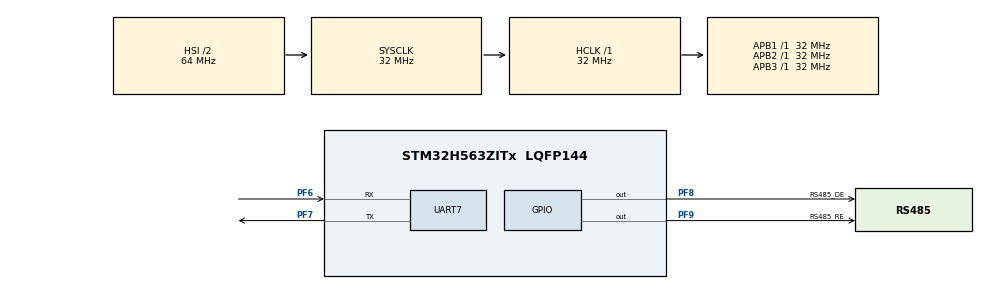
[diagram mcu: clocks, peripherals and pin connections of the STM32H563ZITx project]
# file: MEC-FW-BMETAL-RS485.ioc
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BOOTPATH.BootPathName=LEGACY
BOOTPATH.UserSelectedBootPath=LEGACY
CORTEX_M33_NS.userName=CORTEX_M33
Mcu.Family=STM32H5
Mcu.Name=STM32H563ZITx
Mcu.Package=LQFP144
NVIC.PriorityGroup=NVIC_PRIORITYGROUP_4
NVIC.UART7_IRQn=true\:0\:0\:false\:false\:true\:true\:true\:true
PA13(JTMS/SWDIO).Mode=Trace_Asynchronous_SW
PA13(JTMS/SWDIO).Signal=DEBUG_JTMS-SWDIO
PA14(JTCK/SWCLK).Mode=Trace_Asynchronous_SW
PA14(JTCK/SWCLK).Signal=DEBUG_JTCK-SWCLK
PB3(JTDO/TRACESWO).Mode=Trace_Asynchronous_SW
PB3(JTDO/TRACESWO).Signal=DEBUG_JTDO-SWO
PF6.Mode=Asynchronous
PF6.Signal=UART7_RX
PF7.Mode=Asynchronous
PF7.Signal=UART7_TX
PF8.GPIO_Label=RS485_DE
PF8.Signal=GPIO_Output
PF9.GPIO_Label=RS485_RE
PF9.Signal=GPIO_Output
ProjectManager.HeapSize=0x200
ProjectManager.StackSize=0x400
ProjectManager.TargetToolchain=STM32CubeIDE
RCC.ADCFreq_Value=32000000
RCC.AHBFreq_Value=32000000
RCC.APB1Freq_Value=32000000
RCC.APB1TimFreq_Value=32000000
RCC.APB2Freq_Value=32000000
RCC.APB2TimFreq_Value=32000000
RCC.APB3Freq_Value=32000000
RCC.CSI_VALUE=4000000
RCC.CortexFreq_Value=32000000
RCC.EPOD_VALUE=4000000
RCC.HCLKFreq_Value=32000000
RCC.HSE_VALUE=25000000
RCC.HSI48_VALUE=48000000
RCC.HSI_VALUE=64000000
RCC.LSE_VALUE=32768
RCC.LSIRC_VALUE=32000
RCC.SYSCLKFreq_VALUE=32000000
RCC.USBFreq_Value=48000000
RCC.VCOOutputFreq_Value=516000000
VP_BOOTPATH_VS_BOOTPATH.Mode=BP_Activate
VP_CORTEX_M33_NS_VS_Hclk.Mode=Hclk_Mode
VP_MEMORYMAP_VS_MEMORYMAP.Mode=CurAppReg
VP_PWR_VS_LPOM.Mode=PowerOptimisation
VP_PWR_VS_SECSignals.Mode=Security/Privilege
board=custom

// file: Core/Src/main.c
/* USER CODE BEGIN Header */
/**
  ******************************************************************************
  * @file           : main.c
  * @brief          : Main program body
  ******************************************************************************
  * @attention
  *
  * Copyright (c) 2026 STMicroelectronics.
  * All rights reserved.
  *
  * This software is licensed under terms that can be found in the LICENSE file
  * in the root directory of this software component.
  * If no LICENSE file comes with this software, it is provided AS-IS.
  *
  ******************************************************************************
  */
/* USER CODE END Header */
#include "main.h"

/* USER CODE BEGIN Includes */
#include "swo.h"
#include <stdbool.h>
/* USER CODE END Includes */

UART_HandleTypeDef huart7;

/* USER CODE BEGIN PV */
#define RS485_FRAME_SIZE    8u

static uint8_t rs485_rx_buffer[RS485_FRAME_SIZE];

static const uint8_t rs485_expected_frame[RS485_FRAME_SIZE] =
{
    0xAA, 0x55, 0x01, 0x02, 0x03, 0x04, 0x12, 0x34
};
/* USER CODE END PV */

void SystemClock_Config(void);
static void MX_GPIO_Init(void);
static void MX_UART7_Init(void);

int main(void)
{

  /* MCU Configuration--------------------------------------------------------*/

  /* Reset of all peripherals, Initializes the Flash interface and the Systick. */
  HAL_Init();

  /* Configure the system clock */
  SystemClock_Config();

  /* Initialize all configured peripherals */
  MX_GPIO_Init();
  MX_UART7_Init();
  /* USER CODE BEGIN 2 */

  /* Init main*/
  printf("Init main \r\n");

  /* RS485 receive mode: DE = 0, /RE = 0 */
  HAL_GPIO_WritePin(RS485_DE_GPIO_Port, RS485_DE_Pin, GPIO_PIN_RESET);
  HAL_GPIO_WritePin(RS485_RE_GPIO_Port, RS485_RE_Pin, GPIO_PIN_RESET);

  /* Start interrupt-driven reception of one complete frame */
  if (HAL_UART_Receive_IT(&huart7,
                          rs485_rx_buffer,
                          RS485_FRAME_SIZE) != HAL_OK)
  {
      Error_Handler();
  }

  /* USER CODE END 2 */

  /* Infinite loop */
  while (1)
  {

  }
}

void SystemClock_Config(void)
{
  RCC_OscInitTypeDef RCC_OscInitStruct = {0};
  RCC_ClkInitTypeDef RCC_ClkInitStruct = {0};

  /** Configure the main internal regulator output voltage
  */
  __HAL_PWR_VOLTAGESCALING_CONFIG(PWR_REGULATOR_VOLTAGE_SCALE3);

  while(!__HAL_PWR_GET_FLAG(PWR_FLAG_VOSRDY)) {}

  /** Initializes the RCC Oscillators according to the specified parameters
  * in the RCC_OscInitTypeDef structure.
  */
  RCC_OscInitStruct.OscillatorType = RCC_OSCILLATORTYPE_HSI;
  RCC_OscInitStruct.HSIState = RCC_HSI_ON;
  RCC_OscInitStruct.HSIDiv = RCC_HSI_DIV2;
  RCC_OscInitStruct.HSICalibrationValue = RCC_HSICALIBRATION_DEFAULT;
  RCC_OscInitStruct.PLL.PLLState = RCC_PLL_NONE;
  if (HAL_RCC_OscConfig(&RCC_OscInitStruct) != HAL_OK)
  {
    Error_Handler();
  }

  /** Initializes the CPU, AHB and APB buses clocks
  */
  RCC_ClkInitStruct.ClockType = RCC_CLOCKTYPE_HCLK|RCC_CLOCKTYPE_SYSCLK
                              |RCC_CLOCKTYPE_PCLK1|RCC_CLOCKTYPE_PCLK2
                              |RCC_CLOCKTYPE_PCLK3;
  RCC_ClkInitStruct.SYSCLKSource = RCC_SYSCLKSOURCE_HSI;
  RCC_ClkInitStruct.AHBCLKDivider = RCC_SYSCLK_DIV1;
  RCC_ClkInitStruct.APB1CLKDivider = RCC_HCLK_DIV1;
  RCC_ClkInitStruct.APB2CLKDivider = RCC_HCLK_DIV1;
  RCC_ClkInitStruct.APB3CLKDivider = RCC_HCLK_DIV1;

  if (HAL_RCC_ClockConfig(&RCC_ClkInitStruct, FLASH_LATENCY_1) != HAL_OK)
  {
    Error_Handler();
  }

  /** Configure the programming delay
  */
  __HAL_FLASH_SET_PROGRAM_DELAY(FLASH_PROGRAMMING_DELAY_0);
}

static void MX_UART7_Init(void)
{

  huart7.Instance = UART7;
  huart7.Init.BaudRate = 115200;
  huart7.Init.WordLength = UART_WORDLENGTH_8B;
  huart7.Init.StopBits = UART_STOPBITS_1;
  huart7.Init.Parity = UART_PARITY_NONE;
  huart7.Init.Mode = UART_MODE_TX_RX;
  huart7.Init.HwFlowCtl = UART_HWCONTROL_NONE;
  huart7.Init.OverSampling = UART_OVERSAMPLING_16;
  huart7.Init.OneBitSampling = UART_ONE_BIT_SAMPLE_DISABLE;
  huart7.Init.ClockPrescaler = UART_PRESCALER_DIV1;
  huart7.AdvancedInit.AdvFeatureInit = UART_ADVFEATURE_NO_INIT;
  if (HAL_UART_Init(&huart7) != HAL_OK)
  {
    Error_Handler();
  }
  if (HAL_UARTEx_SetTxFifoThreshold(&huart7, UART_TXFIFO_THRESHOLD_1_8) != HAL_OK)
  {
    Error_Handler();
  }
  if (HAL_UARTEx_SetRxFifoThreshold(&huart7, UART_RXFIFO_THRESHOLD_1_8) != HAL_OK)
  {
    Error_Handler();
  }
  if (HAL_UARTEx_DisableFifoMode(&huart7) != HAL_OK)
  {
    Error_Handler();
  }

}

static void MX_GPIO_Init(void)
{
  GPIO_InitTypeDef GPIO_InitStruct = {0};

  /* GPIO Ports Clock Enable */
  __HAL_RCC_GPIOF_CLK_ENABLE();
  __HAL_RCC_GPIOA_CLK_ENABLE();
  __HAL_RCC_GPIOB_CLK_ENABLE();

  /*Configure GPIO pin Output Level */
  HAL_GPIO_WritePin(GPIOF, RS485_DE_Pin|RS485_RE_Pin, GPIO_PIN_RESET);

  /*Configure GPIO pins : RS485_DE_Pin RS485_RE_Pin */
  GPIO_InitStruct.Pin = RS485_DE_Pin|RS485_RE_Pin;
  GPIO_InitStruct.Mode = GPIO_MODE_OUTPUT_PP;
  GPIO_InitStruct.Pull = GPIO_NOPULL;
  GPIO_InitStruct.Speed = GPIO_SPEED_FREQ_LOW;
  HAL_GPIO_Init(GPIOF, &GPIO_InitStruct);

}

/* USER CODE BEGIN 4 */

void HAL_UART_RxCpltCallback(UART_HandleTypeDef *huart)
{
    if (huart->Instance == UART7)
    {
        bool frame_ok = true;

        printf("[RS485] RX: ");

        for (uint8_t i = 0u; i < RS485_FRAME_SIZE; i++)
        {
            printf("%02X ", rs485_rx_buffer[i]);

            if (rs485_rx_buffer[i] != rs485_expected_frame[i])
            {
                frame_ok = false;
            }
        }

        printf("\r\n");

        if (frame_ok)
        {
            printf("[RS485] FRAME OK\r\n");
        }
        else
        {
            printf("[RS485] FRAME ERROR\r\n");
        }

        /*
         * Switch transceiver to transmit mode:
         * DE  = 1
         * /RE = 1
         */
        HAL_GPIO_WritePin(RS485_RE_GPIO_Port,
                          RS485_RE_Pin,
                          GPIO_PIN_SET);

        HAL_GPIO_WritePin(RS485_DE_GPIO_Port,
                          RS485_DE_Pin,
                          GPIO_PIN_SET);

        /*
         * Echo complete received frame.
         */
        if (HAL_UART_Transmit_IT(&huart7,
                                 rs485_rx_buffer,
                                 RS485_FRAME_SIZE) != HAL_OK)
        {
            Error_Handler();
        }
    }
}

void HAL_UART_TxCpltCallback(UART_HandleTypeDef *huart)
{
    if (huart->Instance == UART7)
    {
        printf("[RS485] TX: ");

        for (uint8_t i = 0u; i < RS485_FRAME_SIZE; i++)
        {
            printf("%02X ", rs485_rx_buffer[i]);
        }

        printf("\r\n");
        printf("[RS485] TX complete\r\n\r\n");

        /*
         * Return transceiver to receive mode:
         * DE  = 0
         * /RE = 0
         */
        HAL_GPIO_WritePin(RS485_DE_GPIO_Port,
                          RS485_DE_Pin,
                          GPIO_PIN_RESET);

        HAL_GPIO_WritePin(RS485_RE_GPIO_Port,
                          RS485_RE_Pin,
                          GPIO_PIN_RESET);

        /*
         * Arm reception of next complete frame.
         */
        if (HAL_UART_Receive_IT(&huart7,
                                rs485_rx_buffer,
                                RS485_FRAME_SIZE) != HAL_OK)
        {
            Error_Handler();
        }
    }
}

/**
  * @brief UART error callback.
  *
  * @param huart UART handle associated with the detected error.
  *
  * @details
  * This callback reports UART7 errors through SWO, returns the transceiver to
  * receive mode and attempts to restart interrupt-driven reception.
  */
void HAL_UART_ErrorCallback(UART_HandleTypeDef *huart)
{
  uint32_t error_code;

  if (huart->Instance == UART7)
  {
    error_code = HAL_UART_GetError(huart);
    printf("[RS485] UART error: 0x%08lX\r\n", (unsigned long)error_code);

    /*
     * Restore receive mode.
     */
    HAL_GPIO_WritePin(RS485_DE_GPIO_Port, RS485_DE_Pin, GPIO_PIN_RESET);

    HAL_GPIO_WritePin(RS485_RE_GPIO_Port, RS485_RE_Pin, GPIO_PIN_RESET);

    /*
     * Abort the current UART operation before restarting reception.
     */
    (void)HAL_UART_Abort(&huart7);

    if (HAL_UART_Receive_IT(&huart7,
                            rs485_rx_buffer,
                            RS485_FRAME_SIZE) != HAL_OK)
    {
        Error_Handler();
    }
  }
}

/* USER CODE END 4 */

void Error_Handler(void)
{
  __disable_irq();
  while (1)
  {
  }
}
